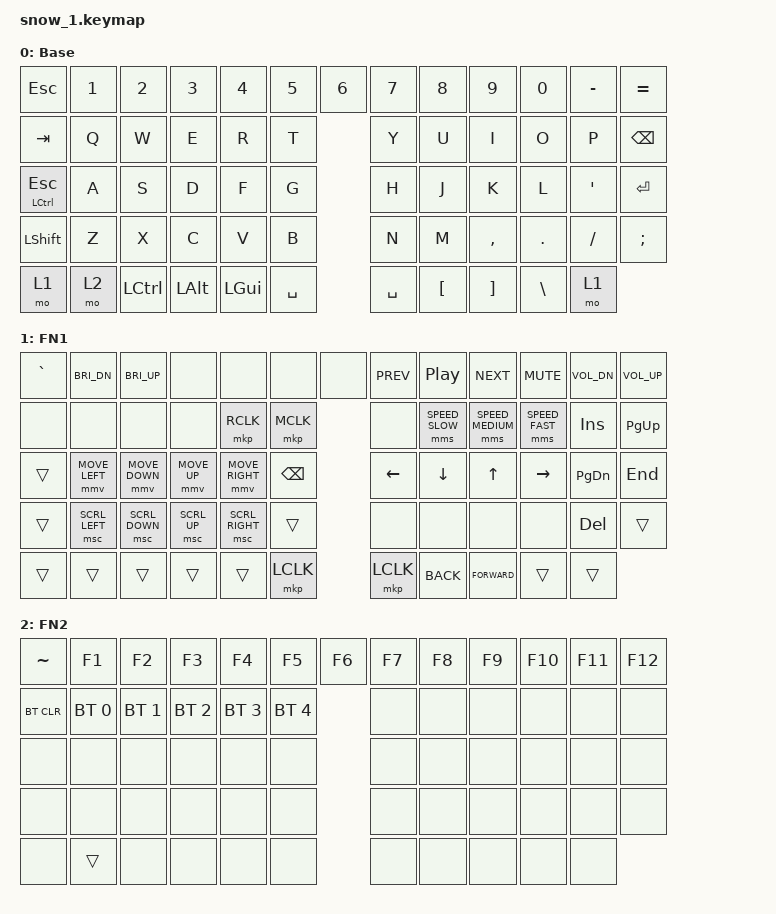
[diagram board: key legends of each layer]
/*
 * Copyright (c) 2021 The ZMK Contributors
 *
 * SPDX-License-Identifier: MIT
 */

#include <behaviors.dtsi>
#include <dt-bindings/zmk/bt.h>
#include <dt-bindings/zmk/keys.h>

#define ZMK_POINTING_SPEED_SLOW_MUL 1
#define ZMK_POINTING_SPEED_SLOW_DIV 6
#define ZMK_POINTING_SPEED_MEDIUM_MUL 1
#define ZMK_POINTING_SPEED_MEDIUM_DIV 3
#define ZMK_POINTING_SPEED_FAST_MUL 4
#define ZMK_POINTING_SPEED_FAST_DIV 1

#define ZMK_POINTING_DEFAULT_MOVE_VAL 1300  // default: 600
#define ZMK_POINTING_DEFAULT_SCRL_VAL 20    // default: 10

#include <dt-bindings/zmk/pointing.h>

&mmv {
    acceleration-exponent = <0>;
};

/ {
    keymap {
        compatible = "zmk,keymap";

// ----------------------------------------------      ----------------------------------------------
// | ESC |  1  |  2  |  3  |  4  |  5  |  6  |         |  7  |  8  |  9  |  0  |  -  |     =     |
// | TAB   |  Q  |  W  |  E  |  R  |  T  |              |  Y  |  U  |  I  |  O  |  P  |   BSPC    |
// | CT/ESC |  A  |  S  |  D  |  F  |  G  |              |  H  |  J  |  K  |  L  |  '  |   ENTER  |
// | SHIFT    |  Z  |  X  |  C  |  V  |  B  |              |  N  |  M  |  ,  |  .  |  /  |    ;    |
// | L1  |  L2  | LCTL | LALT | LGUI|   SPC   |            |  SPC  |  [  |  ]  |   \  |    L1     |
// ----------------------------------------------      ----------------------------------------------

        default_layer {
            display-name = "Base";
            bindings = <
    &kp ESC   &kp N1    &kp N2   &kp N3    &kp N4    &kp N5    &kp N6    /**/ &kp N7    &kp N8    &kp N9    &kp N0    &kp MINUS  &kp EQUAL
    &kp TAB   &kp Q     &kp W    &kp E     &kp R     &kp T               /**/ &kp Y     &kp U     &kp I     &kp O     &kp P      &kp BSPC
    &mt LCTRL ESC &kp A &kp S    &kp D     &kp F     &kp G               /**/ &kp H     &kp J     &kp K     &kp L     &kp SQT    &kp ENTER
    &kp LSHFT &kp Z     &kp X    &kp C     &kp V     &kp B               /**/ &kp N     &kp M     &kp COMMA &kp DOT   &kp FSLH   &kp SEMI
    &mo 1     &mo 2     &kp LCTRL &kp LALT  &kp LGUI  &kp SPACE           /**/ &kp SPACE &kp LBKT  &kp RBKT  &kp BSLH  &mo 1
            >;
        };

// --------------------------------------------------      --------------------------------------------------
// |  `  | BRI- | BRI+ |      |      |      |      |       | PREV | PLAY | NEXT | MUTE | VOL- |    VOL+    |
// |       |      |      |      | RCLK | MCLK |             |      | SLOW | MED  | FAST | INS  |    PGUP    |
// |        | MS_L | MS_D | MS_U | MS_R | BSPC |             | LEFT | DOWN |  UP  | RGHT | PGDN |    END    |
// |          | SC_L | SC_D | SC_U | SC_R |      |             |      |      |      |      | DEL  |         |
// |     |      |      |      |      |  LCLK   |             | LCLK  | BACK | FWD  |      |               |
// --------------------------------------------------      --------------------------------------------------

        fn1_layer {
            display-name = "FN1";
            bindings = <
    &kp GRAVE      &kp C_BRI_DN   &kp C_BRI_UP  &none          &none          &none          &none          /**/ &kp C_PREV     &kp C_PP       &kp C_NEXT     &kp C_MUTE     &kp C_VOL_DN   &kp C_VOL_UP
    &none          &none          &none          &none          &mkp RCLK      &mkp MCLK                     /**/ &none          &mms SPEED_SLOW &mms SPEED_MEDIUM &mms SPEED_FAST &kp INS     &kp PG_UP
    &trans         &mmv MOVE_LEFT &mmv MOVE_DOWN &mmv MOVE_UP   &mmv MOVE_RIGHT &kp BSPC                     /**/ &kp LEFT       &kp DOWN       &kp UP         &kp RIGHT      &kp PG_DN      &kp END
    &trans         &msc SCRL_LEFT &msc SCRL_DOWN &msc SCRL_UP   &msc SCRL_RIGHT &trans                       /**/ &none          &none          &none          &none          &kp DEL        &trans
    &trans         &trans         &trans         &trans          &trans          &mkp LCLK                     /**/ &mkp LCLK      &kp K_BACK     &kp K_FORWARD  &trans       &trans
            >;
        };

// --------------------------------------------------      --------------------------------------------------
// |  ~  |  F1  |  F2  |  F3  |  F4  |  F5  |  F6  |       |  F7  |  F8  |  F9  | F10  | F11  |    F12     |
// | BTCLR | BT0  | BT1  | BT2  | BT3  | BT4  |             |      |      |      |      |      |           |
// |        |      |      |      |      |      |              |      |      |      |      |      |          |
// |          |      |      |      |      |      |              |      |      |      |      |      |         |
// |     |      |      |      |      |         |             |       |      |      |      |               |
// --------------------------------------------------      --------------------------------------------------

        fn2_layer {
            display-name = "FN2";
            bindings = <
    &kp TILDE      &kp F1         &kp F2         &kp F3         &kp F4         &kp F5         &kp F6         /**/ &kp F7         &kp F8         &kp F9         &kp F10        &kp F11        &kp F12
    &bt BT_CLR     &bt BT_SEL 0   &bt BT_SEL 1   &bt BT_SEL 2   &bt BT_SEL 3   &bt BT_SEL 4                 /**/ &none          &none          &none          &none          &none          &none
    &none          &none          &none          &none          &none          &none                          /**/ &none          &none          &none          &none          &none          &none
    &none          &none          &none          &none          &none          &none                          /**/ &none          &none          &none          &none          &none          &none
    &none          &trans         &none          &none          &none          &none                          /**/ &none          &none          &none          &none          &none
            >;
        };
    };
};
